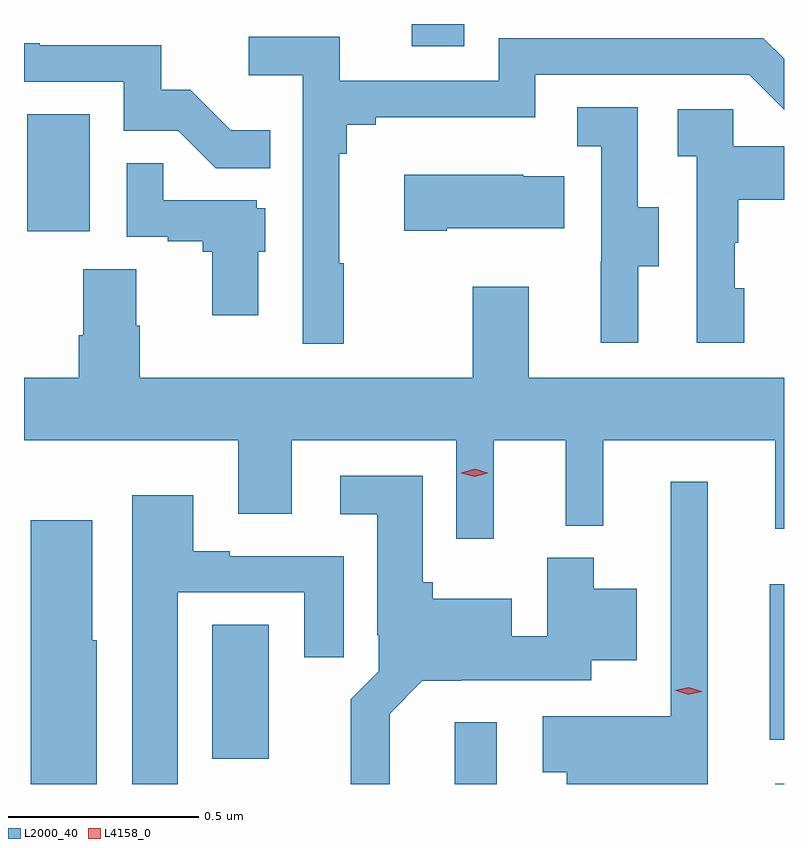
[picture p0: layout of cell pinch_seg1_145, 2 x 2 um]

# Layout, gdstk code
import gdstk
lib = gdstk.Library(unit=1e-6, precision=1e-09)
def R(c, l, rs):  # rectangles x0, y0, x1, y1
    for r in rs: c.add(gdstk.rectangle(r[:2], r[2:], *l))
def P(c, l, *ps):  # polygons
    for p in ps: c.add(gdstk.Polygon(p, *l))
L2000_40 = (2000, 40)
L4158_0 = (4158, 0)

pinch_seg1_145 = lib.new_cell('pinch_seg1_145')
R(pinch_seg1_145, L2000_40, [(1116.161,544.167,1116.271,544.33), (1117.004,544.167,1117.027,544.168), (1115.522,544.233,1115.671,544.586), (1116.989,544.283,1117.027,544.693), (1115.036,545.622,1115.2,545.929), (1116.047,546.108,1116.186,546.167)])
P(pinch_seg1_145, L2000_40, [(1115.869,545.537),(1115.857,545.537),(1115.857,545.825),(1115.876,545.825),(1115.876,545.902),(1115.953,545.902),(1115.953,545.921),(1116.372,545.921),(1116.372,546.033),(1116.936,546.033),(1117.027,545.942),(1117.027,546.075),(1116.973,546.129),(1116.276,546.129),(1116.276,546.018),(1115.858,546.018),(1115.858,546.134),(1115.619,546.134),(1115.619,546.032),(1115.76,546.032),(1115.76,545.325),(1115.869,545.325)],
  [(1115.675,545.887),(1115.571,545.887),(1115.464,545.994),(1115.388,545.994),(1115.388,546.111),(1115.069,546.111),(1115.069,546.116),(1115.027,546.116),(1115.027,546.015),(1115.289,546.015),(1115.289,545.886),(1115.433,545.886),(1115.531,545.788),(1115.675,545.788)],
  [(1116.643,545.53),(1116.697,545.53),(1116.697,545.685),(1116.642,545.685),(1116.642,545.948),(1116.483,545.948),(1116.483,545.845),(1116.546,545.845),(1116.546,545.541),(1116.545,545.541),(1116.545,545.328),(1116.643,545.328)],
  [(1116.922,545.472),(1116.897,545.472),(1116.897,545.591),(1116.907,545.591),(1116.907,545.705),(1117.027,545.705),(1117.027,545.845),(1116.894,545.845),(1116.894,545.943),(1116.747,545.943),(1116.747,545.819),(1116.798,545.819),(1116.798,545.328),(1116.922,545.328)],
  [(1115.644,545.568),(1115.662,545.568),(1115.662,545.682),(1115.64,545.682),(1115.64,545.703),(1115.393,545.703),(1115.393,545.801),(1115.298,545.801),(1115.298,545.607),(1115.405,545.607),(1115.405,545.595),(1115.497,545.595),(1115.497,545.568),(1115.522,545.568),(1115.522,545.4),(1115.644,545.4)],
  [(1116.139,545.63),(1116.449,545.63),(1116.449,545.767),(1116.341,545.767),(1116.341,545.77),(1116.027,545.77),(1116.027,545.623),(1116.139,545.623)],
  [(1116.263,545.072),(1116.452,545.072),(1116.452,544.847),(1116.551,544.847),(1116.551,545.072),(1117.004,545.072),(1117.004,544.839),(1117.027,544.839),(1117.027,545.236),(1116.355,545.236),(1116.355,545.476),(1116.208,545.476),(1116.208,545.236),(1115.331,545.236),(1115.331,545.373),(1115.323,545.373),(1115.323,545.522),(1115.183,545.522),(1115.183,545.348),(1115.171,545.348),(1115.171,545.236),(1115.027,545.236),(1115.027,545.072),(1115.591,545.072),(1115.591,544.878),(1115.731,544.878),(1115.731,545.072),(1116.165,545.072),(1116.165,544.812),(1116.263,544.812)],
  [(1115.989,544.352),(1116.075,544.439),(1116.178,544.439),(1116.178,544.44),(1116.52,544.44),(1116.52,544.493),(1116.64,544.493),(1116.64,544.681),(1116.526,544.681),(1116.526,544.762),(1116.404,544.762),(1116.404,544.556),(1116.31,544.556),(1116.31,544.654),(1116.102,544.654),(1116.102,544.698),(1116.076,544.698),(1116.076,544.978),(1115.859,544.978),(1115.859,544.877),(1115.957,544.877),(1115.957,544.558),(1115.961,544.558),(1115.961,544.464),(1115.887,544.39),(1115.887,544.167),(1115.989,544.167)],
  [(1116.826,544.963),(1116.729,544.963),(1116.729,544.345),(1116.392,544.345),(1116.392,544.198),(1116.455,544.198),(1116.455,544.167),(1116.826,544.167)],
  [(1115.431,544.671),(1115.765,544.671),(1115.765,544.5),(1115.869,544.5),(1115.869,544.767),(1115.569,544.767),(1115.569,544.78),(1115.473,544.78),(1115.473,544.927),(1115.312,544.927),(1115.312,544.167),(1115.431,544.167)],
  [(1115.218,544.545),(1115.206,544.545),(1115.206,544.861),(1115.045,544.861),(1115.045,544.167),(1115.218,544.167)])
P(pinch_seg1_145, L4158_0, [(1116.213,544.976),(1116.177,544.985),(1116.177,544.986),(1116.177,544.986),(1116.213,544.996),(1116.248,544.986),(1116.248,544.986),(1116.248,544.985)],
  [(1116.775,544.402),(1116.74,544.414),(1116.739,544.414),(1116.74,544.414),(1116.776,544.422),(1116.811,544.411),(1116.811,544.411),(1116.811,544.41)])

lib.write_gds('pinch_seg1_145.gds')
